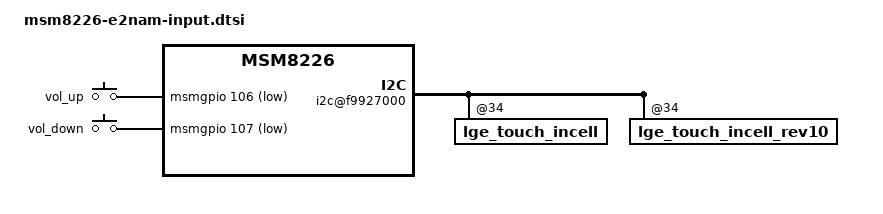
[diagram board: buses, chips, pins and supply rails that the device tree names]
/* Copyright (c) 2013, LGE Electronics. All rights reserved.
 *
 * This program is free software; you can redistribute it and/or modify
 * it under the terms of the GNU General Public License version 2 and
 * only version 2 as published by the Free Software Foundation.
 *
 * This program is distributed in the hope that it will be useful,
 * but WITHOUT ANY WARRANTY; without even the implied warranty of
 * MERCHANTABILITY or FITNESS FOR A PARTICULAR PURPOSE.  See the
 * GNU General Public License for more details.
 */

&soc {
	gpio_keys {
		vol_up {
			gpios = <&msmgpio 106 0x1>;
		};

		vol_down {
			gpios = <&msmgpio 107 0x1>;
		};

		home {
			unused;
		};

		quick_clip {
			unused;
		};
	};

	i2c@f9927000 { /* BLSP1 QUP5 */
		lge_touch_incell@34 {
			status = "ok";
			revision = "rev_a...rev_b";
		};

		lge_touch_incell_rev10@34 {
			status = "ok";
			revision = "rev_10...";
		};
	};
};
